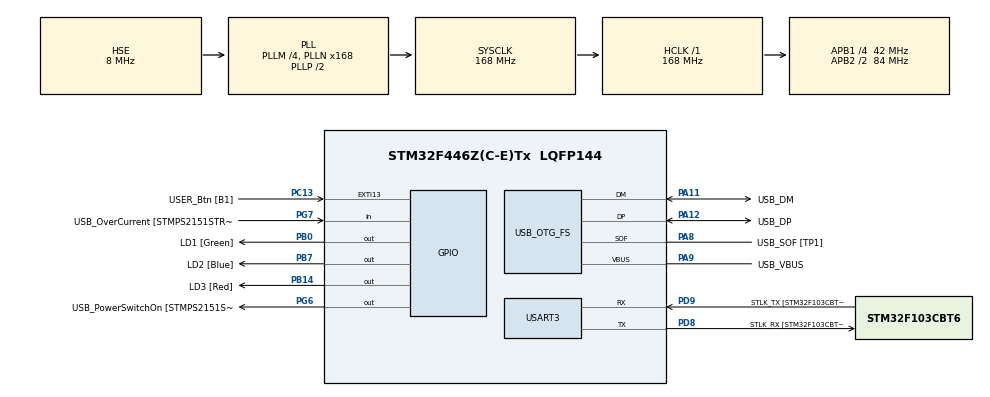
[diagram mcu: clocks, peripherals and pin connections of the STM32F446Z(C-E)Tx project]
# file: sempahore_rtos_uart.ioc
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FREERTOS.BinarySemaphores01=uart_echo,Dynamic,NULL,Available
FREERTOS.Tasks01=defaultTask,24,128,StartDefaultTask,Default,NULL,Dynamic,NULL,NULL;uart_echo2,24,128,StartTask02,Default,NULL,Dynamic,NULL,NULL
Mcu.Family=STM32F4
Mcu.Name=STM32F446Z(C-E)Tx
Mcu.Package=LQFP144
NVIC.PriorityGroup=NVIC_PRIORITYGROUP_4
NVIC.USART3_IRQn=true\:5\:0\:false\:false\:true\:true\:true\:true\:true
PA10.GPIO_Label=USB_ID
PA10.Signal=USB_OTG_FS_ID
PA11.GPIO_Label=USB_DM
PA11.Mode=Device_Only
PA11.Signal=USB_OTG_FS_DM
PA12.GPIO_Label=USB_DP
PA12.Mode=Device_Only
PA12.Signal=USB_OTG_FS_DP
PA13.GPIO_Label=TMS
PA13.Mode=Serial_Wire
PA13.Signal=SYS_JTMS-SWDIO
PA14.GPIO_Label=TCK
PA14.Mode=Serial_Wire
PA14.Signal=SYS_JTCK-SWCLK
PA8.GPIO_Label=USB_SOF [TP1]
PA8.Mode=Activate_SOF_FS
PA8.Signal=USB_OTG_FS_SOF
PA9.GPIO_Label=USB_VBUS
PA9.Mode=Activate_VBUS
PA9.Signal=USB_OTG_FS_VBUS
PB0.GPIO_Label=LD1 [Green]
PB0.Signal=GPIO_Output
PB14.GPIO_Label=LD3 [Red]
PB14.Signal=GPIO_Output
PB7.GPIO_Label=LD2 [Blue]
PB7.Signal=GPIO_Output
PC13.GPIO_Label=USER_Btn [B1]
PC13.Signal=GPXTI13
PC14-OSC32_IN.Mode=LSE-External-Oscillator
PC14-OSC32_IN.Signal=RCC_OSC32_IN
PC15-OSC32_OUT.Mode=LSE-External-Oscillator
PC15-OSC32_OUT.Signal=RCC_OSC32_OUT
PD8.GPIO_Label=STLK_RX [STM32F103CBT6_PA3]
PD8.Mode=Asynchronous
PD8.Signal=USART3_TX
PD9.GPIO_Label=STLK_TX [STM32F103CBT6_PA2]
PD9.Mode=Asynchronous
PD9.Signal=USART3_RX
PG6.GPIO_Label=USB_PowerSwitchOn [STMPS2151STR_EN]
PG6.Signal=GPIO_Output
PG7.GPIO_Label=USB_OverCurrent [STMPS2151STR_FAULT]
PG7.Signal=GPIO_Input
PH0-OSC_IN.GPIO_Label=MCO [STM32F103CBT6_PA8]
PH0-OSC_IN.Mode=HSE-External-Clock-Source
PH0-OSC_IN.Signal=RCC_OSC_IN
PH1-OSC_OUT.Mode=HSE-External-Clock-Source
PH1-OSC_OUT.Signal=RCC_OSC_OUT
ProjectManager.HeapSize=0x200
ProjectManager.StackSize=0x400
ProjectManager.TargetToolchain=STM32CubeIDE
RCC.48MHZClocksFreq_Value=24000000
RCC.AHBFreq_Value=168000000
RCC.APB1CLKDivider=RCC_HCLK_DIV4
RCC.APB1Freq_Value=42000000
RCC.APB1TimFreq_Value=84000000
RCC.APB2CLKDivider=RCC_HCLK_DIV2
RCC.APB2Freq_Value=84000000
RCC.APB2TimFreq_Value=168000000
RCC.CortexFreq_Value=168000000
RCC.HCLKFreq_Value=168000000
RCC.HSE_VALUE=8000000
RCC.HSI_VALUE=16000000
RCC.PLLM=4
RCC.PLLMUL=RCC_PLL_MUL9
RCC.PLLN=168
RCC.PLLQ=7
RCC.PRESCALERUSB=RCC_USBCLKSOURCE_PLL_DIV1_5
RCC.SYSCLKFreq_VALUE=168000000
RCC.SYSCLKSource=RCC_SYSCLKSOURCE_PLLCLK
RCC.SYSCLKSourceVirtual=RCC_SYSCLKSOURCE_PLLCLK
RCC.USBFreq_Value=48000000
RCC.VCOOutputFreq_Value=336000000
USART3.VirtualMode=VM_ASYNC
USB_OTG_FS.VirtualMode=Device_Only
VP_FREERTOS_VS_CMSIS_V2.Mode=CMSIS_V2
board=NUCLEO-F446ZE

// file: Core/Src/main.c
/* USER CODE BEGIN Header */
/**
  ******************************************************************************
  * @file           : main.c
  * @brief          : Main program body
  ******************************************************************************
  * @attention
  *
  * Copyright (c) 2026 STMicroelectronics.
  * All rights reserved.
  *
  * This software is licensed under terms that can be found in the LICENSE file
  * in the root directory of this software component.
  * If no LICENSE file comes with this software, it is provided AS-IS.
  *
  ******************************************************************************
  */
/* USER CODE END Header */
#include "main.h"
#include "cmsis_os.h"

UART_HandleTypeDef huart3;

PCD_HandleTypeDef hpcd_USB_OTG_FS;

/* Definitions for defaultTask */
osThreadId_t defaultTaskHandle;
const osThreadAttr_t defaultTask_attributes = {
  .name = "defaultTask",
  .stack_size = 128 * 4,
  .priority = (osPriority_t) osPriorityNormal,
};
/* Definitions for uart_echo2 */
osThreadId_t uart_echo2Handle;
const osThreadAttr_t uart_echo2_attributes = {
  .name = "uart_echo2",
  .stack_size = 128 * 4,
  .priority = (osPriority_t) osPriorityNormal,
};
/* Definitions for uart_echo */
osSemaphoreId_t uart_echoHandle;
const osSemaphoreAttr_t uart_echo_attributes = {
  .name = "uart_echo"
};

void SystemClock_Config(void);
static void MX_GPIO_Init(void);
static void MX_USART3_UART_Init(void);
static void MX_USB_OTG_FS_PCD_Init(void);
void StartDefaultTask(void *argument);
void StartTask02(void *argument);

volatile uint8_t rx_char;
int main(void)
{

  /* MCU Configuration--------------------------------------------------------*/

  /* Reset of all peripherals, Initializes the Flash interface and the Systick. */
  HAL_Init();

  /* Configure the system clock */
  SystemClock_Config();

  /* Initialize all configured peripherals */
  MX_GPIO_Init();
  MX_USART3_UART_Init();
  MX_USB_OTG_FS_PCD_Init();
  HAL_UART_Receive_IT(&huart3, &rx_char, 1);
  /* Init scheduler */
  osKernelInitialize();

  /* Create the semaphores(s) */
  /* creation of uart_echo */
  uart_echoHandle = osSemaphoreNew(1, 0, &uart_echo_attributes);

  /* Create the thread(s) */
  /* creation of defaultTask */
  defaultTaskHandle = osThreadNew(StartDefaultTask, NULL, &defaultTask_attributes);

  /* creation of uart_echo2 */
  uart_echo2Handle = osThreadNew(StartTask02, NULL, &uart_echo2_attributes);

  /* Start scheduler */
  osKernelStart();

  /* We should never get here as control is now taken by the scheduler */

  /* Infinite loop */
  while (1)
  {

  }
}

void SystemClock_Config(void)
{
  RCC_OscInitTypeDef RCC_OscInitStruct = {0};
  RCC_ClkInitTypeDef RCC_ClkInitStruct = {0};

  /** Configure the main internal regulator output voltage
  */
  __HAL_RCC_PWR_CLK_ENABLE();
  __HAL_PWR_VOLTAGESCALING_CONFIG(PWR_REGULATOR_VOLTAGE_SCALE1);

  /** Initializes the RCC Oscillators according to the specified parameters
  * in the RCC_OscInitTypeDef structure.
  */
  RCC_OscInitStruct.OscillatorType = RCC_OSCILLATORTYPE_HSE;
  RCC_OscInitStruct.HSEState = RCC_HSE_BYPASS;
  RCC_OscInitStruct.PLL.PLLState = RCC_PLL_ON;
  RCC_OscInitStruct.PLL.PLLSource = RCC_PLLSOURCE_HSE;
  RCC_OscInitStruct.PLL.PLLM = 4;
  RCC_OscInitStruct.PLL.PLLN = 168;
  RCC_OscInitStruct.PLL.PLLP = RCC_PLLP_DIV2;
  RCC_OscInitStruct.PLL.PLLQ = 7;
  RCC_OscInitStruct.PLL.PLLR = 2;
  if (HAL_RCC_OscConfig(&RCC_OscInitStruct) != HAL_OK)
  {
    Error_Handler();
  }

  /** Initializes the CPU, AHB and APB buses clocks
  */
  RCC_ClkInitStruct.ClockType = RCC_CLOCKTYPE_HCLK|RCC_CLOCKTYPE_SYSCLK
                              |RCC_CLOCKTYPE_PCLK1|RCC_CLOCKTYPE_PCLK2;
  RCC_ClkInitStruct.SYSCLKSource = RCC_SYSCLKSOURCE_PLLCLK;
  RCC_ClkInitStruct.AHBCLKDivider = RCC_SYSCLK_DIV1;
  RCC_ClkInitStruct.APB1CLKDivider = RCC_HCLK_DIV4;
  RCC_ClkInitStruct.APB2CLKDivider = RCC_HCLK_DIV2;

  if (HAL_RCC_ClockConfig(&RCC_ClkInitStruct, FLASH_LATENCY_5) != HAL_OK)
  {
    Error_Handler();
  }
}

static void MX_USART3_UART_Init(void)
{

  huart3.Instance = USART3;
  huart3.Init.BaudRate = 115200;
  huart3.Init.WordLength = UART_WORDLENGTH_8B;
  huart3.Init.StopBits = UART_STOPBITS_1;
  huart3.Init.Parity = UART_PARITY_NONE;
  huart3.Init.Mode = UART_MODE_TX_RX;
  huart3.Init.HwFlowCtl = UART_HWCONTROL_NONE;
  huart3.Init.OverSampling = UART_OVERSAMPLING_16;
  if (HAL_UART_Init(&huart3) != HAL_OK)
  {
    Error_Handler();
  }

}

static void MX_USB_OTG_FS_PCD_Init(void)
{

  hpcd_USB_OTG_FS.Instance = USB_OTG_FS;
  hpcd_USB_OTG_FS.Init.dev_endpoints = 6;
  hpcd_USB_OTG_FS.Init.speed = PCD_SPEED_FULL;
  hpcd_USB_OTG_FS.Init.dma_enable = DISABLE;
  hpcd_USB_OTG_FS.Init.phy_itface = PCD_PHY_EMBEDDED;
  hpcd_USB_OTG_FS.Init.Sof_enable = ENABLE;
  hpcd_USB_OTG_FS.Init.low_power_enable = DISABLE;
  hpcd_USB_OTG_FS.Init.lpm_enable = DISABLE;
  hpcd_USB_OTG_FS.Init.vbus_sensing_enable = ENABLE;
  hpcd_USB_OTG_FS.Init.use_dedicated_ep1 = DISABLE;
  if (HAL_PCD_Init(&hpcd_USB_OTG_FS) != HAL_OK)
  {
    Error_Handler();
  }

}

static void MX_GPIO_Init(void)
{
  GPIO_InitTypeDef GPIO_InitStruct = {0};

  /* GPIO Ports Clock Enable */
  __HAL_RCC_GPIOC_CLK_ENABLE();
  __HAL_RCC_GPIOH_CLK_ENABLE();
  __HAL_RCC_GPIOB_CLK_ENABLE();
  __HAL_RCC_GPIOD_CLK_ENABLE();
  __HAL_RCC_GPIOG_CLK_ENABLE();
  __HAL_RCC_GPIOA_CLK_ENABLE();

  /*Configure GPIO pin Output Level */
  HAL_GPIO_WritePin(GPIOB, LD1_Pin|LD3_Pin|LD2_Pin, GPIO_PIN_RESET);

  /*Configure GPIO pin Output Level */
  HAL_GPIO_WritePin(USB_PowerSwitchOn_GPIO_Port, USB_PowerSwitchOn_Pin, GPIO_PIN_RESET);

  /*Configure GPIO pin : USER_Btn_Pin */
  GPIO_InitStruct.Pin = USER_Btn_Pin;
  GPIO_InitStruct.Mode = GPIO_MODE_IT_RISING;
  GPIO_InitStruct.Pull = GPIO_NOPULL;
  HAL_GPIO_Init(USER_Btn_GPIO_Port, &GPIO_InitStruct);

  /*Configure GPIO pins : LD1_Pin LD3_Pin LD2_Pin */
  GPIO_InitStruct.Pin = LD1_Pin|LD3_Pin|LD2_Pin;
  GPIO_InitStruct.Mode = GPIO_MODE_OUTPUT_PP;
  GPIO_InitStruct.Pull = GPIO_NOPULL;
  GPIO_InitStruct.Speed = GPIO_SPEED_FREQ_LOW;
  HAL_GPIO_Init(GPIOB, &GPIO_InitStruct);

  /*Configure GPIO pin : USB_PowerSwitchOn_Pin */
  GPIO_InitStruct.Pin = USB_PowerSwitchOn_Pin;
  GPIO_InitStruct.Mode = GPIO_MODE_OUTPUT_PP;
  GPIO_InitStruct.Pull = GPIO_NOPULL;
  GPIO_InitStruct.Speed = GPIO_SPEED_FREQ_LOW;
  HAL_GPIO_Init(USB_PowerSwitchOn_GPIO_Port, &GPIO_InitStruct);

  /*Configure GPIO pin : USB_OverCurrent_Pin */
  GPIO_InitStruct.Pin = USB_OverCurrent_Pin;
  GPIO_InitStruct.Mode = GPIO_MODE_INPUT;
  GPIO_InitStruct.Pull = GPIO_NOPULL;
  HAL_GPIO_Init(USB_OverCurrent_GPIO_Port, &GPIO_InitStruct);

}

/* USER CODE BEGIN 4 */
void HAL_UART_RxCpltCallback(UART_HandleTypeDef *huart)
{
    if(huart->Instance == USART3)
    {
        osSemaphoreRelease(uart_echoHandle);

        HAL_UART_Receive_IT(&huart3,
                            &rx_char,
                            1);
    }
}

/* USER CODE END 4 */

void StartDefaultTask(void *argument)
{
  for(;;)
  {
    osDelay(1);
  }
}

void StartTask02(void *argument)
{
	   char waiting[] = "Waiting for UART...\r\n";
	    char acquired[] = "Semaphore Acquired\r\n";

  /* USER CODE BEGIN StartTask02 */
  /* Infinite loop */
  for(;;)
  {   HAL_UART_Transmit(&huart3,
          (uint8_t*)waiting,
          sizeof(waiting)-1,
          HAL_MAX_DELAY);

osSemaphoreAcquire(uart_echoHandle,
           osWaitForever);

HAL_UART_Transmit(&huart3,
          (uint8_t*)acquired,
          sizeof(acquired)-1,
          HAL_MAX_DELAY);

HAL_UART_Transmit(&huart3,
          &rx_char,
          1,
          HAL_MAX_DELAY);

HAL_UART_Transmit(&huart3,
          (uint8_t*)"\r\n",
          2,
          HAL_MAX_DELAY);

  }
  /* USER CODE END StartTask02 */
}

void Error_Handler(void)
{
  __disable_irq();
  while (1)
  {
  }
}
